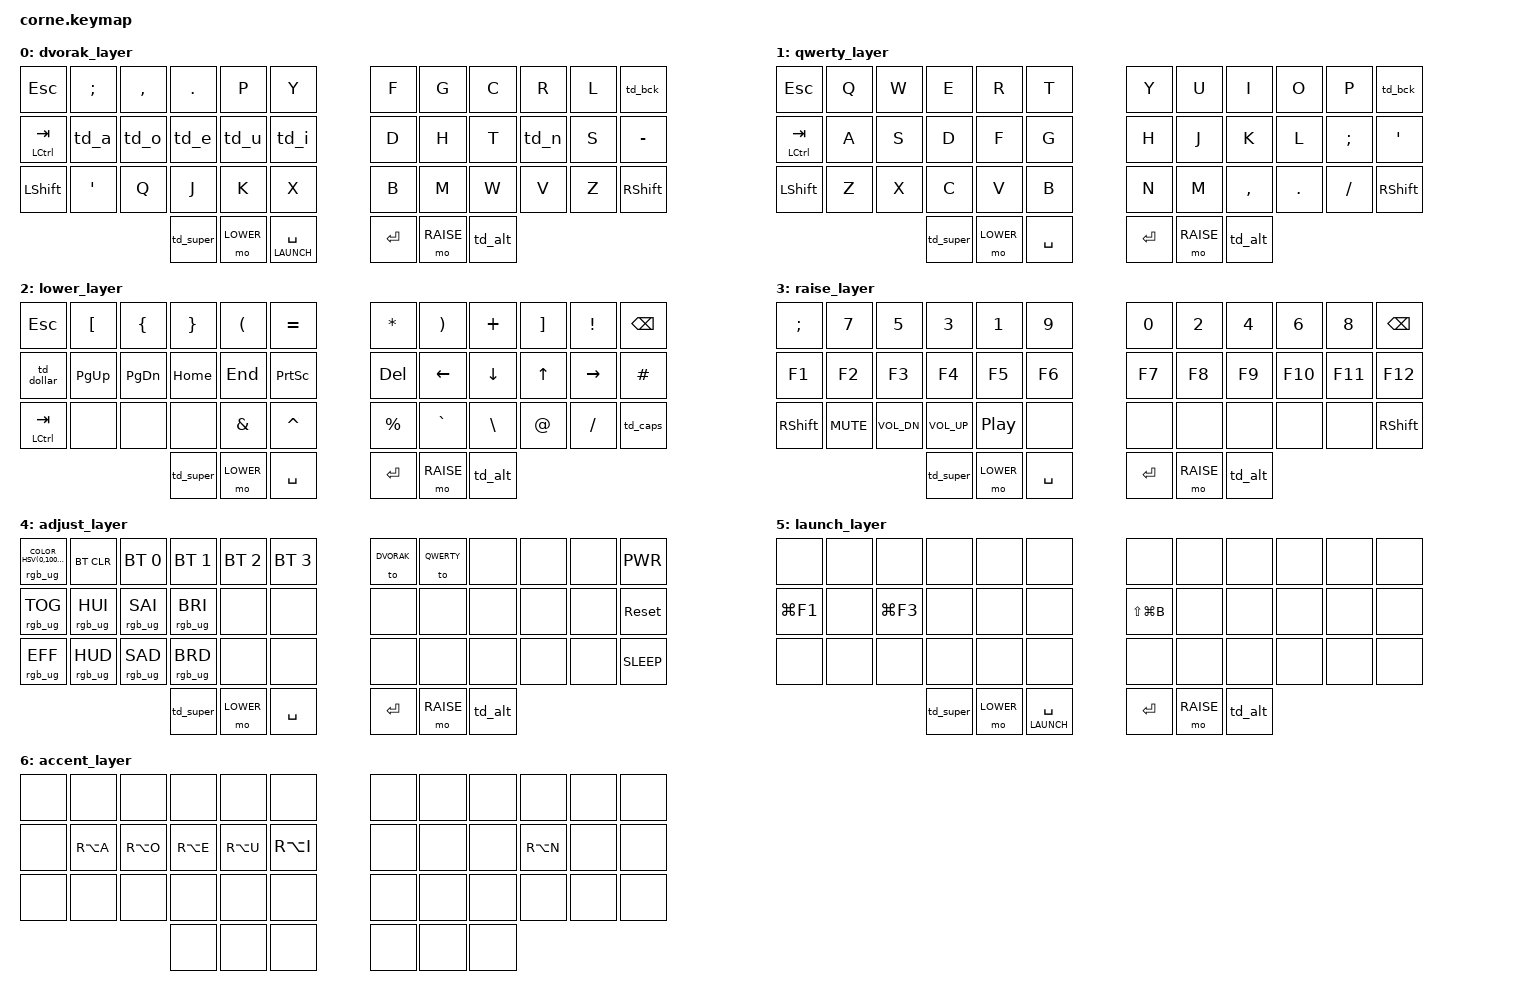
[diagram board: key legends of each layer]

/*
 * Copyright (c) 2020 The ZMK Contributors
 *
 * SPDX-License-Identifier: MIT
 */

#include <behaviors.dtsi>
#include <dt-bindings/zmk/keys.h>
#include <dt-bindings/zmk/bt.h>
#include <dt-bindings/zmk/rgb.h>

// Layer definitions
#define DVORAK  0
#define QWERTY  1
#define LOWER   2
#define RAISE   3
#define ADJUST  4
#define LAUNCH  5
#define ACCENT  6


// LED strip configuration
&led_strip {
    chain-length = <27>;
};

&mt {
    tapping-term-ms = <201>;
    flavor = "tap-preferred";
};

&lt {
    tapping-term-ms = <240>;
    flavor = "balanced";
};

/ {
    behaviors {
        // Tap Dance: Alt (tap) / Left Alt (double tap) / Accent layer (hold)
        td_alt: tap_dance_alt {
            compatible = "zmk,behavior-tap-dance";
            label = "TAP_DANCE_ALT";
            #binding-cells = <0>;
            tapping-term-ms = <200>;
            bindings = <&lt ACCENT RALT>, <&kp LALT>;
        };

        // Triple tap behaviors for accented vowels
        td_a: tap_dance_a {
            compatible = "zmk,behavior-tap-dance";
            label = "TAP_DANCE_A";
            #binding-cells = <0>;
            tapping-term-ms = <250>;
            bindings = <&kp A>, <&kp A>, <&kp RA(A)>; // á
        };

        td_e: tap_dance_e {
            compatible = "zmk,behavior-tap-dance";
            label = "TAP_DANCE_E";
            #binding-cells = <0>;
            tapping-term-ms = <250>;
            bindings = <&kp E>, <&kp E>, <&kp RA(E)>; // é
        };

        td_i: tap_dance_i {
            compatible = "zmk,behavior-tap-dance";
            label = "TAP_DANCE_I";
            #binding-cells = <0>;
            tapping-term-ms = <250>;
            bindings = <&kp I>, <&kp I>, <&kp RA(I)>; // í
        };

        td_o: tap_dance_o {
            compatible = "zmk,behavior-tap-dance";
            label = "TAP_DANCE_O";
            #binding-cells = <0>;
            tapping-term-ms = <250>;
            bindings = <&kp O>, <&kp O>, <&kp RA(O)>; // ó
        };

        td_u: tap_dance_u {
            compatible = "zmk,behavior-tap-dance";
            label = "TAP_DANCE_U";
            #binding-cells = <0>;
            tapping-term-ms = <250>;
            bindings = <&kp U>, <&kp U>, <&kp RA(U)>; // ú
        };

        td_n: tap_dance_n {
            compatible = "zmk,behavior-tap-dance";
            label = "TAP_DANCE_N";
            #binding-cells = <0>;
            tapping-term-ms = <250>;
            bindings = <&kp N>, <&kp N>, <&kp RA(N)>; // ñ
        };

        // Tap Dance: Left Shift (tap) / Caps Lock (double tap)
        td_caps: tap_dance_caps {
            compatible = "zmk,behavior-tap-dance";
            label = "TAP_DANCE_CAPS";
            #binding-cells = <0>;
            tapping-term-ms = <200>;
            bindings = <&kp LSHFT>, <&kp CAPS>;
        };

        // Tap Dance: GUI (tap) / Meh (double tap)
        td_super: tap_dance_super {
            compatible = "zmk,behavior-tap-dance";
            label = "TAP_DANCE_SUPER";
            #binding-cells = <0>;
            tapping-term-ms = <200>;
            bindings = <&kp LGUI>, <&kp LS(LC(LALT))>;
        };

        // Tap Dance: Dollar (tap) / Tilde (double tap)
        td_dollar: tap_dance_dollar {
            compatible = "zmk,behavior-tap-dance";
            label = "TAP_DANCE_DOLLAR";
            #binding-cells = <0>;
            tapping-term-ms = <200>;
            bindings = <&kp DLLR>, <&kp TILDE>;
        };

        // Tap Dance: Backspace (tap) / Ctrl+Backspace (hold)
        td_bck: tap_dance_backspace {
            compatible = "zmk,behavior-tap-dance";
            label = "TAP_DANCE_BACKSPACE";
            #binding-cells = <0>;
            tapping-term-ms = <200>;
            bindings = <&kp BSPC>, <&kp LC(BSPC)>;
        };

        // Hold-tap for Control+Tab
        ctltb: ctrl_tab {
            compatible = "zmk,behavior-hold-tap";
            label = "CTRL_TAB";
            #binding-cells = <2>;
            tapping-term-ms = <200>;
            quick-tap-ms = <175>;
            flavor = "tap-preferred";
            bindings = <&kp>, <&kp>;
        };

        // Layer tap for launch layer with space
        lch: launch_space {
            compatible = "zmk,behavior-hold-tap";
            label = "LAUNCH_SPACE";
            #binding-cells = <2>;
            tapping-term-ms = <200>;
            quick-tap-ms = <175>;
            flavor = "tap-preferred";
            bindings = <&mo>, <&kp>;
        };
    };

    conditional_layers {
        compatible = "zmk,conditional-layers";
        tri_layer {
            if-layers = <LOWER RAISE>;
            then-layer = <ADJUST>;
        };
    };

    combos {
        compatible = "zmk,combos";
        // Application shortcuts
        combo_firefox {
            timeout-ms = <50>;
            key-positions = <13 14>; // A+O in Dvorak
            bindings = <&kp LG(F1)>;
            layers = <DVORAK QWERTY>;
        };
        combo_telegram {
            timeout-ms = <50>;
            key-positions = <15 16>; // E+U in Dvorak
            bindings = <&kp LG(F3)>;
            layers = <DVORAK QWERTY>;
        };
        combo_dbeaver {
            timeout-ms = <50>;
            key-positions = <19 20>; // H+T in Dvorak
            bindings = <&kp LS(LG(B))>;
            layers = <DVORAK QWERTY>;
        };
    };

    keymap {
        compatible = "zmk,keymap";

        dvorak_layer {
// -----------------------------------------------------------------------------------------
// | ESC |  ;  |  ,  |  .  |  P  |  Y  |   |  F  |  G  |  C  |  R  |  L  | BCK |
// |C/TAB| A/á | O/ó | E/é | U/ú | I/í |   |  D  |  H  |  T  | N/ñ |  S  |  -  |
// |SHIFT|  '  |  Q  |  J  |  K  |  X  |   |  B  |  M  |  W  |  V  |  Z  |SHIFT|
//                   |SUPER|LOWER|LCH/SP|   | ENT |RAISE| ALT |
            bindings = <
    &kp ESC    &kp SEMI &kp COMMA &kp DOT &kp P &kp Y   &kp F &kp G &kp C &kp R &kp L    &td_bck
    &ctltb LCTRL TAB &td_a &td_o &td_e &td_u &td_i   &kp D &kp H &kp T &td_n &kp S    &kp MINUS 
    &kp LSHFT  &kp SQT  &kp Q     &kp J   &kp K &kp X   &kp B &kp M &kp W &kp V &kp Z    &kp RSHFT 
                       &td_super &mo LOWER &lch LAUNCH SPACE   &kp RET &mo RAISE &td_alt
            >;
        };

        qwerty_layer {
// -----------------------------------------------------------------------------------------
// | ESC |  Q  |  W  |  E  |  R  |  T  |   |  Y  |  U  |  I  |  O  |  P  | BCK |
// |C/TAB|  A  |  S  |  D  |  F  |  G  |   |  H  |  J  |  K  |  L  |  ;  |  '  |
// |SHIFT|  Z  |  X  |  C  |  V  |  B  |   |  N  |  M  |  ,  |  .  |  /  |SHIFT|
//                   |SUPER|LOWER| SPC |   | ENT |RAISE| ALT |
            bindings = <
   &kp ESC    &kp Q &kp W &kp E &kp R &kp T   &kp Y &kp U  &kp I     &kp O   &kp P    &td_bck
   &ctltb LCTRL TAB &kp A &kp S &kp D &kp F &kp G   &kp H &kp J  &kp K     &kp L   &kp SEMI &kp SQT
   &kp LSHFT  &kp Z &kp X &kp C &kp V &kp B   &kp N &kp M  &kp COMMA &kp DOT &kp FSLH &kp RSHFT
                    &td_super &mo LOWER &kp SPACE   &kp RET &mo RAISE &td_alt
            >;
        };

        lower_layer {
// -----------------------------------------------------------------------------------------
// | ESC | [ | { | } | ( | = |   | * | ) | + | ] | ! | BSP |
// | $ | PgUp| PgDn| Home| End |PrtSc|   | Del| ← | ↓ | ↑ | → | # |
// |C/TAB|     |     |     | & | ^ |   | % | ` | \ | @ | / |SHIFT|
//                   |SUPER|LOWER| SPC |   | ENT |RAISE| ALT |
            bindings = <
   &kp ESC    &kp LBKT &kp LBRC &kp RBRC &kp LPAR &kp EQUAL   &kp ASTRK &kp RPAR &kp PLUS  &kp RBKT &kp EXCL &kp BSPC
   &td_dollar &kp PG_UP &kp PG_DN &kp HOME &kp END &kp PSCRN  &kp DEL   &kp LEFT &kp DOWN  &kp UP   &kp RIGHT &kp HASH
   &ctltb LCTRL TAB &none &none &none &kp AMPS &kp CARET     &kp PRCNT &kp GRAVE &kp BSLH &kp AT   &kp FSLH  &td_caps
                              &td_super &mo LOWER &kp SPACE   &kp RET   &mo RAISE &td_alt
            >;
        };

        raise_layer {
// -----------------------------------------------------------------------------------------
// |  ;  |  7  |  5  |  3  |  1  |  9  |   |  0  |  2  |  4  |  6  |  8  | BSP |
// | F1  | F2  | F3  | F4  | F5  | F6  |   | F7  | F8  | F9  | F10 | F11 | F12 |
// |SHIFT|MUTE |VOLD |VOLU |PLAY |     |   |     |     |     |     |     |SHIFT|
//                   |SUPER|LOWER| SPC |   | ENT |RAISE| ALT |
            bindings = <
   &kp SEMI  &kp N7   &kp N5   &kp N3   &kp N1   &kp N9     &kp N0 &kp N2 &kp N4 &kp N6  &kp N8  &kp BSPC
   &kp F1    &kp F2   &kp F3   &kp F4   &kp F5   &kp F6     &kp F7 &kp F8 &kp F9 &kp F10 &kp F11 &kp F12
   &kp RSHFT &kp C_MUTE &kp C_VOL_DN &kp C_VOL_UP &kp C_PP &none   &none  &none  &none  &none   &none   &kp RSHFT
                                &td_super &mo LOWER &kp SPACE   &kp RET &mo RAISE &td_alt
            >;
        };

        adjust_layer {
// -----------------------------------------------------------------------------------------
// |RGBRST|BT CLR|BT 0|BT 1|BT 2|BT 3|   |DVORAK|QWERTY|     |     |     | PWR |
// |RGB_TOG|HUE+|SAT+|BRI+ |     |     |   |     |     |     |     |     |RESET|
// |RGB_MOD|HUE-|SAT-|BRI- |     |     |   |     |     |     |     |     |SLEEP|
//                   |SUPER|LOWER| SPC |   | ENT |RAISE| ALT |
            bindings = <
   &rgb_ug RGB_COLOR_HSV(0,100,100) &bt BT_CLR &bt BT_SEL 0 &bt BT_SEL 1 &bt BT_SEL 2 &bt BT_SEL 3   &to DVORAK &to QWERTY &none &none &none &kp C_PWR
   &rgb_ug RGB_TOG &rgb_ug RGB_HUI &rgb_ug RGB_SAI &rgb_ug RGB_BRI &none &none   &none &none &none &none &none &sys_reset
   &rgb_ug RGB_EFF &rgb_ug RGB_HUD &rgb_ug RGB_SAD &rgb_ug RGB_BRD &none &none   &none &none &none &none &none &kp C_SLEEP
                                    &td_super &mo LOWER &kp SPACE   &kp RET &mo RAISE &td_alt
            >;
        };

        launch_layer {
// -----------------------------------------------------------------------------------------
// |     |     |     |     |     |     |   |     |     |     |     |     |     |
// |FIREFOX|   |TELEGRM|   |     |     |   |DBEAVER|   |     |     |     |     |
// |     |     |     |     |     |     |   |     |     |     |     |     |     |
//                   |SUPER|LOWER|LCH/SP|   | ENT |RAISE| ALT |
            bindings = <
   &none     &none &none     &none &none &none   &none      &none &none &none &none &none
   &kp LG(F1) &none &kp LG(F3) &none &none &none   &kp LS(LG(B)) &none &none &none &none &none
   &none     &none &none     &none &none &none   &none      &none &none &none &none &none
                   &td_super &mo LOWER &lch LAUNCH SPACE   &kp RET &mo RAISE &td_alt
            >;
        };

        accent_layer {
// -----------------------------------------------------------------------------------------
// |     |     |     |     |     |     |   |     |     |     |     |     |     |
// |     | á   | ó   | é   | ú   | í   |   |     |     |     | ñ   |     |     |
// |     |     |     |     |     |     |   |     |     |     |     |     |     |
//                   |     |     |     |   |     |     |     |
            bindings = <
   &none &none &none &none &none &none   &none &none &none &none &none &none
   &none &kp RA(A) &kp RA(O) &kp RA(E) &kp RA(U) &kp RA(I)   &none &none &none &kp RA(N) &none &none
   &none &none &none &none &none &none   &none &none &none &none &none &none
                   &none &none &none   &none &none &none
            >;
        };
    };
};
